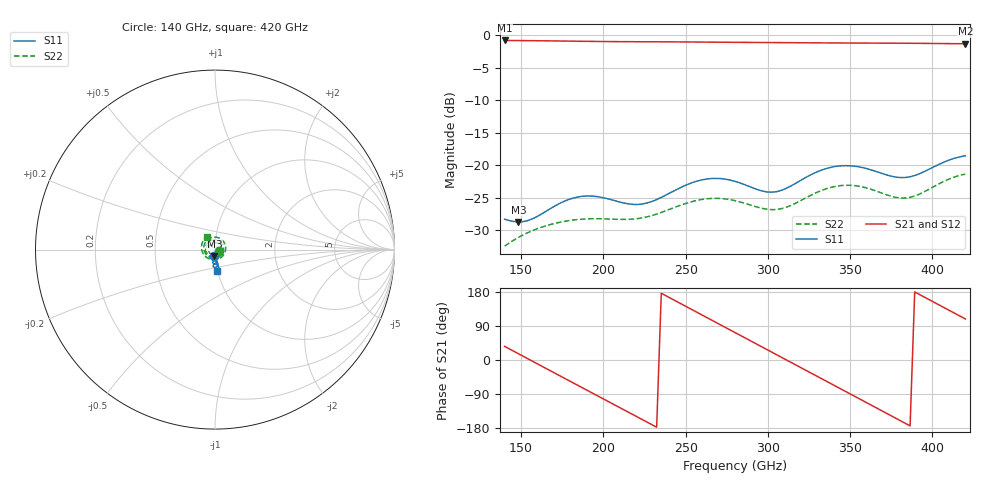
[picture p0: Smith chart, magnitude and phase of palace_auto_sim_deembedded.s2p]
! Created with skrf 1.11.0 (http://scikit-rf.org).
# GHz S DB R 50.0
!freq dBS11 angS11 dBS21 angS21 dBS12 angS12 dBS22 angS22
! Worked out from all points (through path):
!   101 points, 140 GHz to 420 GHz, reference 50 ohm
!   highest |S21| = -0.79 dB at 140 GHz (marker M1); lowest = -1.3 dB at 420 GHz (marker M2)
!   group delay of S21, straight-line fit = 6.42 ps
!   lowest |S11| = -28.8 dB at 148.4 GHz (marker M3), VSWR 1.08, Z = 49.6 - j3.61 ohm
!   |S11| at or under -10 dB: start of sweep to end of sweep
!   |S22| runs from -32.5 to -21.4 dB; largest |S21 - S12| = 1.5e-13
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140  -28.34 -100.1  -0.79 36.0  -0.79 36.0  -32.50 -25.9
148.4  -28.76 -94.7  -0.80 16.5  -0.80 16.5  -31.15 -62.6
165.2  -27.11 -83.5  -0.84 -22.3  -0.84 -22.3  -29.35 -133.7
187.6  -24.80 -92.2  -0.91 -74.1  -0.91 -74.1  -28.33 130.9
198.8  -24.97 -97.8  -0.95 -99.9  -0.95 -99.9  -28.28 81.1
210  -25.69 -98.2  -0.97 -125.7  -0.97 -125.7  -28.37 28.3
224  -25.98 -89.7  -0.99 -158.0  -0.99 -158.0  -28.12 -42.0
235.2  -24.98 -83.0  -1.00 176.1  -1.00 176.1  -27.30 -98.0
246.4  -23.53 -82.2  -1.01 150.2  -1.01 150.2  -26.23 -150.2
260.4  -22.25 -88.3  -1.04 117.8  -1.04 117.8  -25.28 149.7
280  -22.50 -99.0  -1.07 72.4  -1.07 72.4  -25.48 67.6
294  -23.81 -97.6  -1.10 40.0  -1.10 40.0  -26.51 2.0
305.2  -24.10 -87.7  -1.12 14.1  -1.12 14.1  -26.84 -57.7
316.4  -22.88 -79.5  -1.14 -11.8  -1.14 -11.8  -25.93 -117.5
327.6  -21.30 -79.6  -1.15 -37.7  -1.15 -37.7  -24.47 -170.9
338.8  -20.31 -85.0  -1.17 -63.6  -1.17 -63.6  -23.40 141.3
350  -20.10 -91.5  -1.18 -89.5  -1.18 -89.5  -23.11 95.5
361.2  -20.62 -96.0  -1.19 -115.4  -1.19 -115.4  -23.62 48.2
375.2  -21.73 -93.6  -1.21 -147.9  -1.21 -147.9  -24.82 -19.2
386.4  -21.80 -85.0  -1.22 -173.9  -1.22 -173.9  -24.97 -80.7
397.6  -20.68 -78.9  -1.25 160.1  -1.25 160.1  -23.76 -139.7
420  -18.56 -84.8  -1.29 108.3  -1.29 108.3  -21.39 123.0
